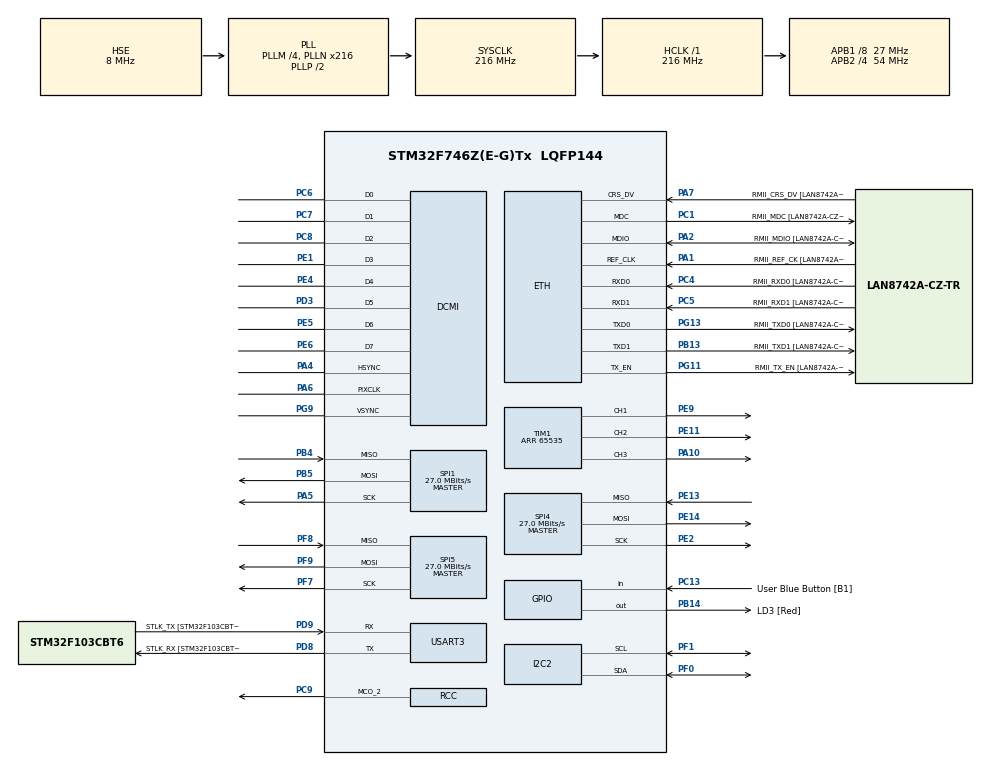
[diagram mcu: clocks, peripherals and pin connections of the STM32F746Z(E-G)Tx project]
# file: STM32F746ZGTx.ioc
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DCMI.PCKPolarity=DCMI_PCKPOLARITY_RISING
DCMI.VSPolarity=DCMI_VSPOLARITY_HIGH
Dma.DCMI.0.Channel=DMA_CHANNEL_1
Dma.DCMI.0.Direction=DMA_PERIPH_TO_MEMORY
Dma.DCMI.0.FIFOMode=DMA_FIFOMODE_ENABLE
Dma.DCMI.0.FIFOThreshold=DMA_FIFO_THRESHOLD_FULL
Dma.DCMI.0.Instance=DMA2_Stream1
Dma.DCMI.0.MemBurst=DMA_MBURST_SINGLE
Dma.DCMI.0.MemDataAlignment=DMA_MDATAALIGN_HALFWORD
Dma.DCMI.0.MemInc=DMA_MINC_ENABLE
Dma.DCMI.0.Mode=DMA_CIRCULAR
Dma.DCMI.0.PeriphBurst=DMA_PBURST_SINGLE
Dma.DCMI.0.PeriphDataAlignment=DMA_PDATAALIGN_WORD
Dma.DCMI.0.PeriphInc=DMA_PINC_DISABLE
Dma.DCMI.0.Priority=DMA_PRIORITY_LOW
Dma.Request0=DCMI
ETH.MediaInterface=ETH_MEDIA_INTERFACE_RMII
FREERTOS.Tasks01=defaultTask,0,128,StartDefaultTask
FREERTOS.configUSE_TICK_HOOK=1
I2C2.Timing=0x0060699F
Mcu.Family=STM32F7
Mcu.Name=STM32F746Z(E-G)Tx
Mcu.Package=LQFP144
NVIC.DCMI_IRQn=true\:5\:0\:false
NVIC.DMA2_Stream1_IRQn=true\:5\:0\:false
NVIC.ETH_IRQn=true\:5\:0\:false
NVIC.PriorityGroup=NVIC_PRIORITYGROUP_4
PA1.GPIO_Label=RMII_REF_CK [LAN8742A-CZ-TR_REFCLK0]
PA1.Mode=RMII
PA1.Signal=ETH_REF_CLK
PA10.Signal=S_TIM1_CH3
PA13.GPIO_Label=TMS
PA13.Mode=Trace-Asynchronous_SW
PA13.Signal=SYS_JTMS-SWDIO
PA14.GPIO_Label=TCK
PA14.Mode=Trace-Asynchronous_SW
PA14.Signal=SYS_JTCK-SWCLK
PA2.GPIO_Label=RMII_MDIO [LAN8742A-CZ-TR_MDIO]
PA2.Mode=RMII
PA2.Signal=ETH_MDIO
PA4.GPIO_Speed=GPIO_SPEED_HIGH
PA4.Mode=Slave_8_bits_External_Synchro
PA4.Signal=DCMI_HSYNC
PA5.Mode=Full_Duplex_Master
PA5.Signal=SPI1_SCK
PA6.GPIO_Speed=GPIO_SPEED_HIGH
PA6.Mode=Slave_8_bits_External_Synchro
PA6.Signal=DCMI_PIXCLK
PA7.GPIO_Label=RMII_CRS_DV [LAN8742A-CZ-TR_CRS_DV]
PA7.Mode=RMII
PA7.Signal=ETH_CRS_DV
PB13.GPIO_Label=RMII_TXD1 [LAN8742A-CZ-TR_TXD1]
PB13.Mode=RMII
PB13.Signal=ETH_TXD1
PB14.GPIO_Label=LD3 [Red]
PB14.Signal=GPIO_Output
PB3.GPIO_Label=SWO
PB3.Mode=Trace-Asynchronous_SW
PB3.Signal=SYS_JTDO-SWO
PB4.Mode=Full_Duplex_Master
PB4.Signal=SPI1_MISO
PB5.Mode=Full_Duplex_Master
PB5.Signal=SPI1_MOSI
PC1.GPIO_Label=RMII_MDC [LAN8742A-CZ-TR_MDC]
PC1.Mode=RMII
PC1.Signal=ETH_MDC
PC13.GPIO_Label=User Blue Button [B1]
PC13.Signal=GPIO_Input
PC14/OSC32_IN.Mode=LSE-External-Oscillator
PC14/OSC32_IN.Signal=RCC_OSC32_IN
PC15/OSC32_OUT.Mode=LSE-External-Oscillator
PC15/OSC32_OUT.Signal=RCC_OSC32_OUT
PC4.GPIO_Label=RMII_RXD0 [LAN8742A-CZ-TR_RXD0]
PC4.Mode=RMII
PC4.Signal=ETH_RXD0
PC5.GPIO_Label=RMII_RXD1 [LAN8742A-CZ-TR_RXD1]
PC5.Mode=RMII
PC5.Signal=ETH_RXD1
PC6.GPIO_Speed=GPIO_SPEED_HIGH
PC6.Mode=Slave_8_bits_External_Synchro
PC6.Signal=DCMI_D0
PC7.GPIO_Speed=GPIO_SPEED_HIGH
PC7.Mode=Slave_8_bits_External_Synchro
PC7.Signal=DCMI_D1
PC8.GPIO_Speed=GPIO_SPEED_HIGH
PC8.Mode=Slave_8_bits_External_Synchro
PC8.Signal=DCMI_D2
PC9.GPIO_PuPd=GPIO_PULLUP
PC9.GPIO_Speed=GPIO_SPEED_HIGH
PC9.Mode=Clock-out-2
PC9.Signal=RCC_MCO_2
PD3.GPIO_Speed=GPIO_SPEED_HIGH
PD3.Mode=Slave_8_bits_External_Synchro
PD3.Signal=DCMI_D5
PD8.GPIO_Label=STLK_RX [STM32F103CBT6_PA3]
PD8.Mode=Asynchronous
PD8.Signal=USART3_TX
PD9.GPIO_Label=STLK_TX [STM32F103CBT6_PA2]
PD9.Mode=Asynchronous
PD9.Signal=USART3_RX
PE1.GPIO_Speed=GPIO_SPEED_HIGH
PE1.Mode=Slave_8_bits_External_Synchro
PE1.Signal=DCMI_D3
PE11.Signal=S_TIM1_CH2
PE13.Mode=Full_Duplex_Master
PE13.Signal=SPI4_MISO
PE14.Mode=Full_Duplex_Master
PE14.Signal=SPI4_MOSI
PE2.Mode=Full_Duplex_Master
PE2.Signal=SPI4_SCK
PE4.GPIO_Speed=GPIO_SPEED_HIGH
PE4.Mode=Slave_8_bits_External_Synchro
PE4.Signal=DCMI_D4
PE5.GPIO_Speed=GPIO_SPEED_HIGH
PE5.Mode=Slave_8_bits_External_Synchro
PE5.Signal=DCMI_D6
PE6.GPIO_Speed=GPIO_SPEED_HIGH
PE6.Mode=Slave_8_bits_External_Synchro
PE6.Signal=DCMI_D7
PE9.Signal=S_TIM1_CH1
PF0.Mode=I2C
PF0.Signal=I2C2_SDA
PF1.Mode=I2C
PF1.Signal=I2C2_SCL
PF7.Mode=Full_Duplex_Master
PF7.Signal=SPI5_SCK
PF8.Mode=Full_Duplex_Master
PF8.Signal=SPI5_MISO
PF9.Mode=Full_Duplex_Master
PF9.Signal=SPI5_MOSI
PG11.GPIO_Label=RMII_TX_EN [LAN8742A-CZ-TR_TXEN]
PG11.Mode=RMII
PG11.Signal=ETH_TX_EN
PG13.GPIO_Label=RMII_TXD0 [LAN8742A-CZ-TR_TXD0]
PG13.Mode=RMII
PG13.Signal=ETH_TXD0
PG9.GPIO_Speed=GPIO_SPEED_HIGH
PG9.Mode=Slave_8_bits_External_Synchro
PG9.Signal=DCMI_VSYNC
PH0/OSC_IN.GPIO_Label=MCO [STM32F103CBT6_PA8]
PH0/OSC_IN.Mode=HSE-External-Clock-Source
PH0/OSC_IN.Signal=RCC_OSC_IN
PH1/OSC_OUT.Mode=HSE-External-Clock-Source
PH1/OSC_OUT.Signal=RCC_OSC_OUT
ProjectManager.TargetToolchain=MDK-ARM V5
RCC.48MHZClocksFreq_Value=24000000
RCC.AHBFreq_Value=216000000
RCC.APB1CLKDivider=RCC_HCLK_DIV8
RCC.APB1Freq_Value=27000000
RCC.APB1TimFreq_Value=54000000
RCC.APB2CLKDivider=RCC_HCLK_DIV4
RCC.APB2Freq_Value=54000000
RCC.APB2TimFreq_Value=108000000
RCC.CortexFreq_Value=216000000
RCC.HCLKFreq_Value=216000000
RCC.HSE_VALUE=8000000
RCC.HSI_VALUE=8000000
RCC.PLLM=4
RCC.PLLMUL=RCC_PLL_MUL9
RCC.PLLN=216
RCC.PLLQ=9
RCC.PLLSourceVirtual=RCC_PLLSOURCE_HSE
RCC.PRESCALERUSB=RCC_USBPLLCLK_DIV1_5
RCC.RCC_MCO2Source=RCC_MCO2SOURCE_PLLI2SCLK
RCC.RCC_MCODiv2=RCC_MCODIV_4
RCC.SYSCLKFreq_VALUE=216000000
RCC.SYSCLKSource=RCC_SYSCLKSOURCE_PLLCLK
RCC.SYSCLKSourceVirtual=RCC_SYSCLKSOURCE_PLLCLK
RCC.USBFreq_Value=48000000
RCC.VCOOutputFreq_Value=432000000
SH.S_TIM1_CH1.0=TIM1_CH1,PWM Generation1 CH1
SH.S_TIM1_CH2.0=TIM1_CH2,PWM Generation2 CH2
SH.S_TIM1_CH3.0=TIM1_CH3,PWM Generation3 CH3
SPI1.CalculateBaudRate=27.0 MBits/s
SPI1.Mode=SPI_MODE_MASTER
SPI4.CalculateBaudRate=27.0 MBits/s
SPI4.Mode=SPI_MODE_MASTER
SPI5.CalculateBaudRate=27.0 MBits/s
SPI5.Mode=SPI_MODE_MASTER
TIM1.Channel-PWM\ Generation2\ CH2=TIM_CHANNEL_2
TIM1.Channel-PWM\ Generation3\ CH3=TIM_CHANNEL_3
TIM1.Period=65535
VP_FATFS_VS_Generic.Mode=User_defined
VP_FREERTOS_VS_ENABLE.Mode=Enabled
VP_LWIP_VS_Enabled.Mode=Enabled
VP_TIM1_VS_ClockSourceINT.Mode=Internal
board=NUCLEO-F746ZG

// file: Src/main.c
/**
  ******************************************************************************
  * File Name          : main.c
  * Description        : Main program body
  ******************************************************************************
  *
  * COPYRIGHT(c) 2016 STMicroelectronics
  *
  * Redistribution and use in source and binary forms, with or without modification,
  * are permitted provided that the following conditions are met:
  *   1. Redistributions of source code must retain the above copyright notice,
  *      this list of conditions and the following disclaimer.
  *   2. Redistributions in binary form must reproduce the above copyright notice,
  *      this list of conditions and the following disclaimer in the documentation
  *      and/or other materials provided with the distribution.
  *   3. Neither the name of STMicroelectronics nor the names of its contributors
  *      may be used to endorse or promote products derived from this software
  *      without specific prior written permission.
  *
  * THIS SOFTWARE IS PROVIDED BY THE COPYRIGHT HOLDERS AND CONTRIBUTORS "AS IS"
  * AND ANY EXPRESS OR IMPLIED WARRANTIES, INCLUDING, BUT NOT LIMITED TO, THE
  * IMPLIED WARRANTIES OF MERCHANTABILITY AND FITNESS FOR A PARTICULAR PURPOSE ARE
  * DISCLAIMED. IN NO EVENT SHALL THE COPYRIGHT HOLDER OR CONTRIBUTORS BE LIABLE
  * FOR ANY DIRECT, INDIRECT, INCIDENTAL, SPECIAL, EXEMPLARY, OR CONSEQUENTIAL
  * DAMAGES (INCLUDING, BUT NOT LIMITED TO, PROCUREMENT OF SUBSTITUTE GOODS OR
  * SERVICES; LOSS OF USE, DATA, OR PROFITS; OR BUSINESS INTERRUPTION) HOWEVER
  * CAUSED AND ON ANY THEORY OF LIABILITY, WHETHER IN CONTRACT, STRICT LIABILITY,
  * OR TORT (INCLUDING NEGLIGENCE OR OTHERWISE) ARISING IN ANY WAY OUT OF THE USE
  * OF THIS SOFTWARE, EVEN IF ADVISED OF THE POSSIBILITY OF SUCH DAMAGE.
  *
  ******************************************************************************
  */
#include "stm32f7xx_hal.h"
#include "cmsis_os.h"
#include "dcmi.h"
#include "dma.h"
#include "fatfs.h"
#include "i2c.h"
#include "lwip.h"
#include "spi.h"
#include "tim.h"
#include "usart.h"
#include "gpio.h"

/* USER CODE BEGIN PV */
/* Private variables ---------------------------------------------------------*/

/* USER CODE END PV */

void SystemClock_Config(void);
void MX_FREERTOS_Init(void);

/* USER CODE BEGIN PFP */
/* Private function prototypes -----------------------------------------------*/

/* USER CODE END PFP */

int main(void)
{

  /* MCU Configuration----------------------------------------------------------*/

  /* Reset of all peripherals, Initializes the Flash interface and the Systick. */
  HAL_Init();

  /* Configure the system clock */
  SystemClock_Config();

  /* Initialize all configured peripherals */
  MX_GPIO_Init();
  MX_DMA_Init();
  MX_DCMI_Init();
  MX_I2C2_Init();
  MX_SPI1_Init();
  MX_SPI4_Init();
  MX_SPI5_Init();
  MX_TIM1_Init();
  MX_USART3_UART_Init();

  /* Call init function for freertos objects (in freertos.c) */
  MX_FREERTOS_Init();

  /* Start scheduler */
  osKernelStart();

  /* We should never get here as control is now taken by the scheduler */

  /* Infinite loop */
  while (1)
  {

  }

}

/** System Clock Configuration
*/
void SystemClock_Config(void)
{

  RCC_OscInitTypeDef RCC_OscInitStruct;
  RCC_ClkInitTypeDef RCC_ClkInitStruct;
  RCC_PeriphCLKInitTypeDef PeriphClkInitStruct;

  __PWR_CLK_ENABLE();

  __HAL_PWR_VOLTAGESCALING_CONFIG(PWR_REGULATOR_VOLTAGE_SCALE1);

  RCC_OscInitStruct.OscillatorType = RCC_OSCILLATORTYPE_HSE;
  RCC_OscInitStruct.HSEState = RCC_HSE_BYPASS;
  RCC_OscInitStruct.PLL.PLLState = RCC_PLL_ON;
  RCC_OscInitStruct.PLL.PLLSource = RCC_PLLSOURCE_HSE;
  RCC_OscInitStruct.PLL.PLLM = 4;
  RCC_OscInitStruct.PLL.PLLN = 216;
  RCC_OscInitStruct.PLL.PLLP = RCC_PLLP_DIV2;
  RCC_OscInitStruct.PLL.PLLQ = 9;
  HAL_RCC_OscConfig(&RCC_OscInitStruct);

  HAL_PWREx_ActivateOverDrive();

  RCC_ClkInitStruct.ClockType = RCC_CLOCKTYPE_HCLK|RCC_CLOCKTYPE_SYSCLK
                              |RCC_CLOCKTYPE_PCLK1|RCC_CLOCKTYPE_PCLK2;
  RCC_ClkInitStruct.SYSCLKSource = RCC_SYSCLKSOURCE_PLLCLK;
  RCC_ClkInitStruct.AHBCLKDivider = RCC_SYSCLK_DIV1;
  RCC_ClkInitStruct.APB1CLKDivider = RCC_HCLK_DIV8;
  RCC_ClkInitStruct.APB2CLKDivider = RCC_HCLK_DIV4;
  HAL_RCC_ClockConfig(&RCC_ClkInitStruct, FLASH_LATENCY_7);

  PeriphClkInitStruct.PeriphClockSelection = RCC_PERIPHCLK_PLLI2S|RCC_PERIPHCLK_USART3
                              |RCC_PERIPHCLK_I2C2;
  PeriphClkInitStruct.PLLI2S.PLLI2SN = 192;
  PeriphClkInitStruct.PLLI2S.PLLI2SP = 0;
  PeriphClkInitStruct.PLLI2S.PLLI2SR = 2;
  PeriphClkInitStruct.PLLI2S.PLLI2SQ = 2;
  PeriphClkInitStruct.PLLI2SDivQ = 1;
  PeriphClkInitStruct.Usart3ClockSelection = RCC_USART3CLKSOURCE_PCLK1;
  PeriphClkInitStruct.I2c2ClockSelection = RCC_I2C2CLKSOURCE_PCLK1;
  HAL_RCCEx_PeriphCLKConfig(&PeriphClkInitStruct);

  HAL_RCC_MCOConfig(RCC_MCO2, RCC_MCO2SOURCE_PLLI2SCLK, RCC_MCODIV_4);

  HAL_SYSTICK_Config(HAL_RCC_GetHCLKFreq()/1000);

  HAL_SYSTICK_CLKSourceConfig(SYSTICK_CLKSOURCE_HCLK);

  /* SysTick_IRQn interrupt configuration */
  HAL_NVIC_SetPriority(SysTick_IRQn, 15, 0);
}

/************************ (C) COPYRIGHT STMicroelectronics *****END OF FILE****/

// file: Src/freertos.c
/**
  ******************************************************************************
  * File Name          : freertos.c
  * Description        : Code for freertos applications
  ******************************************************************************
  *
  * COPYRIGHT(c) 2016 STMicroelectronics
  *
  * Redistribution and use in source and binary forms, with or without modification,
  * are permitted provided that the following conditions are met:
  *   1. Redistributions of source code must retain the above copyright notice,
  *      this list of conditions and the following disclaimer.
  *   2. Redistributions in binary form must reproduce the above copyright notice,
  *      this list of conditions and the following disclaimer in the documentation
  *      and/or other materials provided with the distribution.
  *   3. Neither the name of STMicroelectronics nor the names of its contributors
  *      may be used to endorse or promote products derived from this software
  *      without specific prior written permission.
  *
  * THIS SOFTWARE IS PROVIDED BY THE COPYRIGHT HOLDERS AND CONTRIBUTORS "AS IS"
  * AND ANY EXPRESS OR IMPLIED WARRANTIES, INCLUDING, BUT NOT LIMITED TO, THE
  * IMPLIED WARRANTIES OF MERCHANTABILITY AND FITNESS FOR A PARTICULAR PURPOSE ARE
  * DISCLAIMED. IN NO EVENT SHALL THE COPYRIGHT HOLDER OR CONTRIBUTORS BE LIABLE
  * FOR ANY DIRECT, INDIRECT, INCIDENTAL, SPECIAL, EXEMPLARY, OR CONSEQUENTIAL
  * DAMAGES (INCLUDING, BUT NOT LIMITED TO, PROCUREMENT OF SUBSTITUTE GOODS OR
  * SERVICES; LOSS OF USE, DATA, OR PROFITS; OR BUSINESS INTERRUPTION) HOWEVER
  * CAUSED AND ON ANY THEORY OF LIABILITY, WHETHER IN CONTRACT, STRICT LIABILITY,
  * OR TORT (INCLUDING NEGLIGENCE OR OTHERWISE) ARISING IN ANY WAY OUT OF THE USE
  * OF THIS SOFTWARE, EVEN IF ADVISED OF THE POSSIBILITY OF SUCH DAMAGE.
  *
  ******************************************************************************
  */

#include "FreeRTOS.h"
#include "task.h"
#include "cmsis_os.h"

/* USER CODE BEGIN Includes */
#include "gpio.h"
#include "shell.h"
/* USER CODE END Includes */

osThreadId defaultTaskHandle;

/* USER CODE BEGIN Variables */
osSemaphoreId dcmiBinarySemaphoreHandle;
osThreadId toggleTaskHandle;
osThreadId shellThreadHandle;
/* USER CODE END Variables */

void StartDefaultTask(void const * argument);

extern void MX_FATFS_Init(void);
extern void MX_LWIP_Init(void);
void MX_FREERTOS_Init(void); /* (MISRA C 2004 rule 8.1) */

/* USER CODE BEGIN FunctionPrototypes */
void ToggleLedTask(void const * argument);
/* USER CODE END FunctionPrototypes */

/* Hook prototypes */
void vApplicationTickHook(void);

/* USER CODE BEGIN 3 */
void vApplicationTickHook( void )
{
   /* This function will be called by each tick interrupt if
   configUSE_TICK_HOOK is set to 1 in FreeRTOSConfig.h. User code can be
   added here, but the tick hook is called from an interrupt context, so
   code must not attempt to block, and only the interrupt safe FreeRTOS API
   functions can be used (those that end in FromISR()). */

	HAL_IncTick();
}
/* USER CODE END 3 */

/* Init FreeRTOS */

void MX_FREERTOS_Init(void) {

  /* USER CODE BEGIN RTOS_SEMAPHORES */
  /* add semaphores, ... */
  osSemaphoreDef(dcmiBinarySemaphore);
  dcmiBinarySemaphoreHandle = osSemaphoreCreate(osSemaphore(dcmiBinarySemaphore), 1);
  /* USER CODE END RTOS_SEMAPHORES */

  /* Create the thread(s) */
  /* definition and creation of defaultTask */
  osThreadDef(defaultTask, StartDefaultTask, osPriorityNormal, 0, 128);
  defaultTaskHandle = osThreadCreate(osThread(defaultTask), NULL);

  /* USER CODE BEGIN RTOS_THREADS */
  /* add threads, ... */
  osThreadDef(ledTask, ToggleLedTask, osPriorityNormal, 0, 128);
  toggleTaskHandle = osThreadCreate(osThread(ledTask), NULL);

	osThreadDef(shellThreadTask, shellStart, osPriorityNormal, 0, 256);
  shellThreadHandle = osThreadCreate(osThread(shellThreadTask), NULL);
  /* USER CODE END RTOS_THREADS */

}

/* StartDefaultTask function */
void StartDefaultTask(void const * argument)
{
  /* init code for FATFS */
  MX_FATFS_Init();

  /* init code for LWIP */
  MX_LWIP_Init();

  for(;;)
  {
    osDelay(1);
  }
}

/* USER CODE BEGIN Application */
void ToggleLedTask(void const * argument)
{
	while(1)
	{
		HAL_GPIO_TogglePin(LD3_GPIO_Port, LD3_Pin);
		osDelay(1000);
	}
}

/* USER CODE END Application */

/************************ (C) COPYRIGHT STMicroelectronics *****END OF FILE****/
